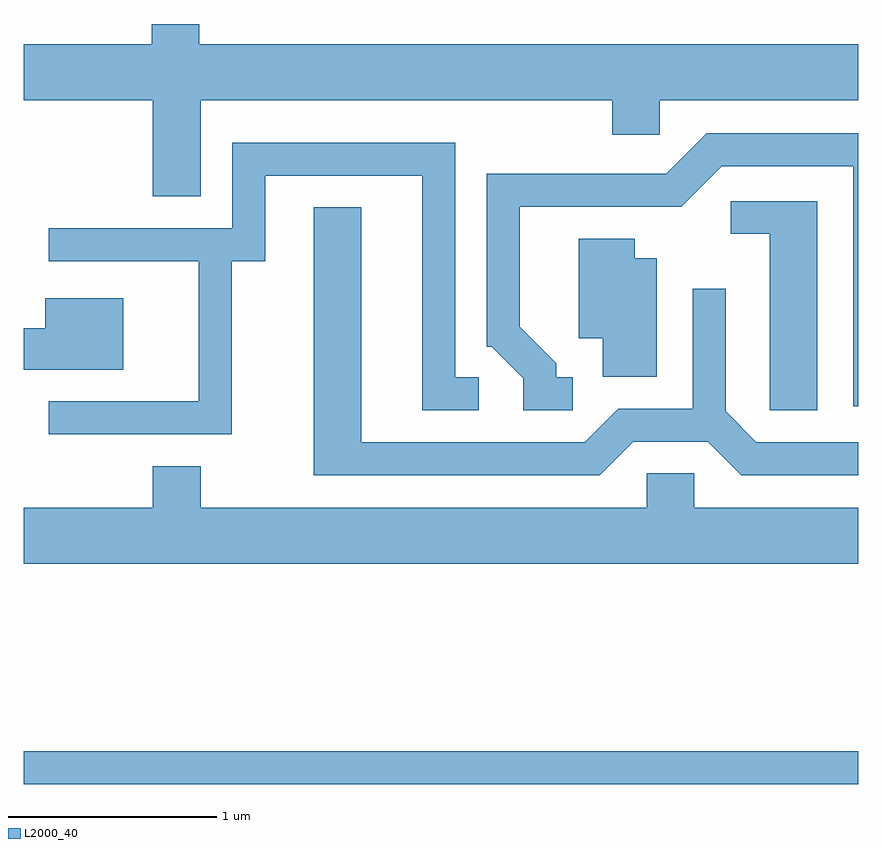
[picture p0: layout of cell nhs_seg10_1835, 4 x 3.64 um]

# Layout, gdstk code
import gdstk
lib = gdstk.Library(unit=1e-6, precision=1e-09)
def R(c, l, rs):  # rectangles x0, y0, x1, y1
    for r in rs: c.add(gdstk.rectangle(r[:2], r[2:], *l))
def P(c, l, *ps):  # polygons
    for p in ps: c.add(gdstk.Polygon(p, *l))
L2000_40 = (2000, 40)

nhs_seg10_1835 = lib.new_cell('nhs_seg10_1835')
R(nhs_seg10_1835, L2000_40, [(239.611,2092.881,243.611,2093.039)])
P(nhs_seg10_1835, L2000_40, [(240.459,2096.156),(242.431,2096.156),(242.431,2095.991),(242.659,2095.991),(242.659,2096.156),(243.611,2096.156),(243.611,2096.424),(240.454,2096.424),(240.454,2096.522),(240.226,2096.522),(240.226,2096.424),(239.611,2096.424),(239.611,2096.156),(240.231,2096.156),(240.231,2095.696),(240.459,2095.696)],
  [(242.243,2094.829),(242.164,2094.829),(242.164,2094.896),(241.989,2095.072),(241.989,2095.646),(242.762,2095.646),(242.957,2095.841),(243.586,2095.841),(243.586,2094.691),(243.611,2094.691),(243.611,2095.999),(242.884,2095.999),(242.689,2095.804),(241.831,2095.804),(241.831,2094.976),(241.854,2094.976),(242.006,2094.824),(242.006,2094.671),(242.243,2094.671)],
  [(240.609,2095.386),(240.769,2095.386),(240.769,2095.796),(241.521,2095.796),(241.521,2094.671),(241.793,2094.671),(241.793,2094.829),(241.679,2094.829),(241.679,2095.954),(240.611,2095.954),(240.611,2095.544),(239.733,2095.544),(239.733,2095.386),(240.451,2095.386),(240.451,2094.714),(239.733,2094.714),(239.733,2094.556),(240.609,2094.556)],
  [(243.414,2095.674),(242.998,2095.674),(242.998,2095.516),(243.186,2095.516),(243.186,2094.671),(243.414,2094.671)],
  [(242.532,2094.521),(242.889,2094.521),(243.049,2094.361),(243.611,2094.361),(243.611,2094.519),(243.122,2094.519),(242.974,2094.667),(242.974,2095.253),(242.816,2095.253),(242.816,2094.679),(242.459,2094.679),(242.299,2094.519),(241.229,2094.519),(241.229,2095.644),(241.001,2095.644),(241.001,2094.361),(242.372,2094.361)],
  [(242.644,2095.399),(242.539,2095.399),(242.539,2095.494),(242.271,2095.494),(242.271,2095.016),(242.386,2095.016),(242.386,2094.831),(242.644,2094.831)],
  [(240.089,2095.209),(239.716,2095.209),(239.716,2095.064),(239.611,2095.064),(239.611,2094.866),(240.089,2094.866)],
  [(243.611,2094.204),(242.824,2094.204),(242.824,2094.369),(242.596,2094.369),(242.596,2094.204),(240.459,2094.204),(240.459,2094.404),(240.231,2094.404),(240.231,2094.204),(239.611,2094.204),(239.611,2093.936),(243.611,2093.936)])

lib.write_gds('nhs_seg10_1835.gds')
